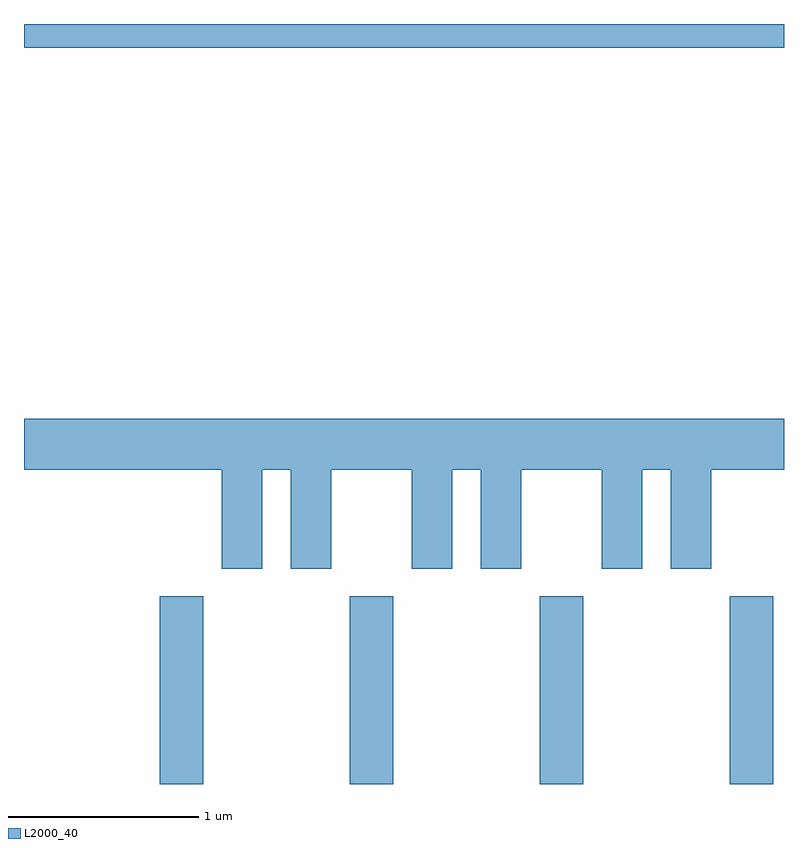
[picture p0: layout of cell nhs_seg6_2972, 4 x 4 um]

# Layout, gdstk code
import gdstk
lib = gdstk.Library(unit=1e-6, precision=1e-09)
def R(c, l, rs):  # rectangles x0, y0, x1, y1
    for r in rs: c.add(gdstk.rectangle(r[:2], r[2:], *l))
def A(c, l, x, y, w, h, nx, ny, dx, dy):  # array of equal rectangles
    R(c, l, [(x+i*dx, y+j*dy, x+i*dx+w, y+j*dy+h) for i in range(nx) for j in range(ny)])
def P(c, l, *ps):  # polygons
    for p in ps: c.add(gdstk.Polygon(p, *l))
L2000_40 = (2000, 40)

nhs_seg6_2972 = lib.new_cell('nhs_seg6_2972')
A(nhs_seg6_2972, L2000_40, 276.326, 1546.162, 0.228, 0.987, 4, 1, 1, 0)
R(nhs_seg6_2972, L2000_40, [(275.611,1550.036,279.611,1550.162)])
P(nhs_seg6_2972, L2000_40, [(276.864,1547.816),(277.016,1547.816),(277.016,1547.296),(277.229,1547.296),(277.229,1547.816),(277.651,1547.816),(277.651,1547.296),(277.864,1547.296),(277.864,1547.816),(278.016,1547.816),(278.016,1547.296),(278.229,1547.296),(278.229,1547.816),(278.651,1547.816),(278.651,1547.296),(278.864,1547.296),(278.864,1547.816),(279.016,1547.816),(279.016,1547.296),(279.229,1547.296),(279.229,1547.816),(279.611,1547.816),(279.611,1548.084),(275.611,1548.084),(275.611,1547.816),(276.651,1547.816),(276.651,1547.296),(276.864,1547.296)])

lib.write_gds('nhs_seg6_2972.gds')
